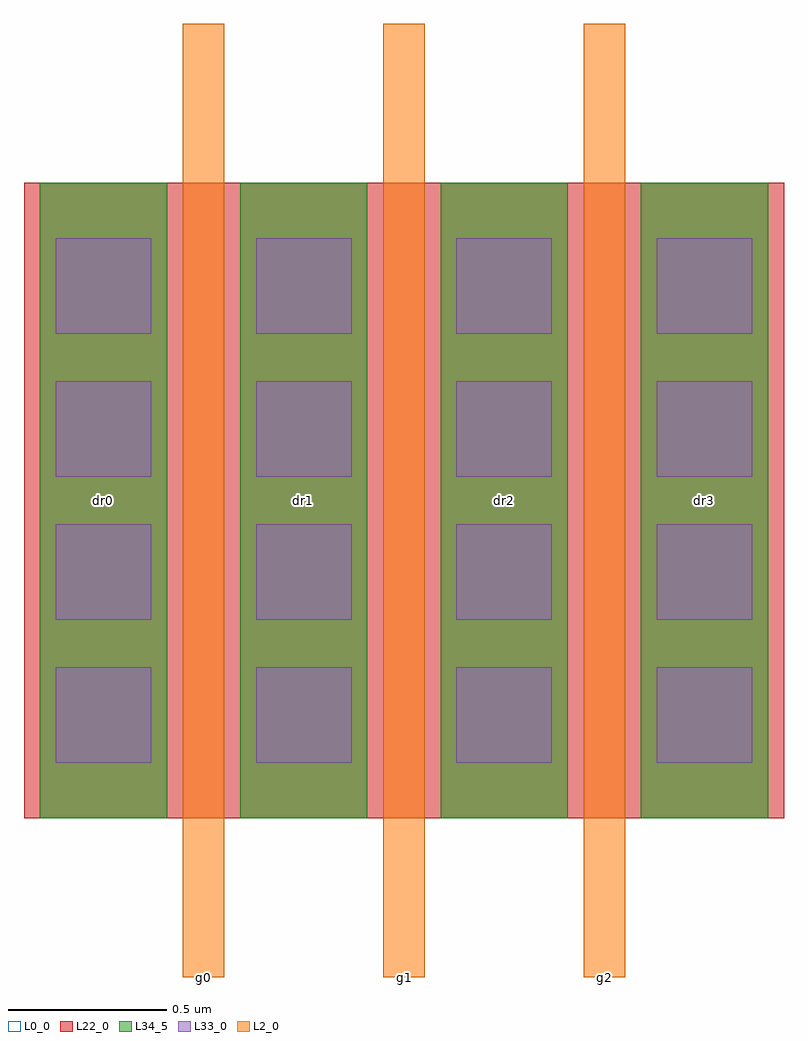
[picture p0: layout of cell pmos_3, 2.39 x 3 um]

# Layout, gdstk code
import gdstk
lib = gdstk.Library(unit=1e-6, precision=5e-09)
def R(c, l, rs):  # rectangles x0, y0, x1, y1
    for r in rs: c.add(gdstk.rectangle(r[:2], r[2:], *l))
def A(c, l, x, y, w, h, nx, ny, dx, dy):  # array of equal rectangles
    R(c, l, [(x+i*dx, y+j*dy, x+i*dx+w, y+j*dy+h) for i in range(nx) for j in range(ny)])
L0_0 = (0, 0)
L2_0 = (2, 0)
L22_0 = (22, 0)
L33_0 = (33, 0)
L34_5 = (34, 5)

pmos_3 = lib.new_cell('pmos_3')
R(pmos_3, L0_0, [(0,0,2.39,2), (0,0,2.39,2)])
A(pmos_3, L2_0, 0.5, -0.5, 0.13, 3, 3, 1, 0.63, 0)
R(pmos_3, L22_0, [(0,0,2.39,2)])
A(pmos_3, L33_0, 0.1, 0.175, 0.3, 0.3, 4, 4, 0.63, 0.45)
A(pmos_3, L34_5, 0.05, 0, 0.4, 2, 4, 1, 0.63, 0)
pmos_3.add(gdstk.Label('g0', (0.565,-0.5), layer=2, texttype=0))
pmos_3.add(gdstk.Label('g1', (1.195,-0.5), layer=2, texttype=0))
pmos_3.add(gdstk.Label('g2', (1.825,-0.5), layer=2, texttype=0))
pmos_3.add(gdstk.Label('dr0', (0.25,1), layer=34, texttype=16))
pmos_3.add(gdstk.Label('dr1', (0.88,1), layer=34, texttype=16))
pmos_3.add(gdstk.Label('dr2', (1.51,1), layer=34, texttype=16))
pmos_3.add(gdstk.Label('dr3', (2.14,1), layer=34, texttype=16))

lib.write_gds('pmos_3.gds')
